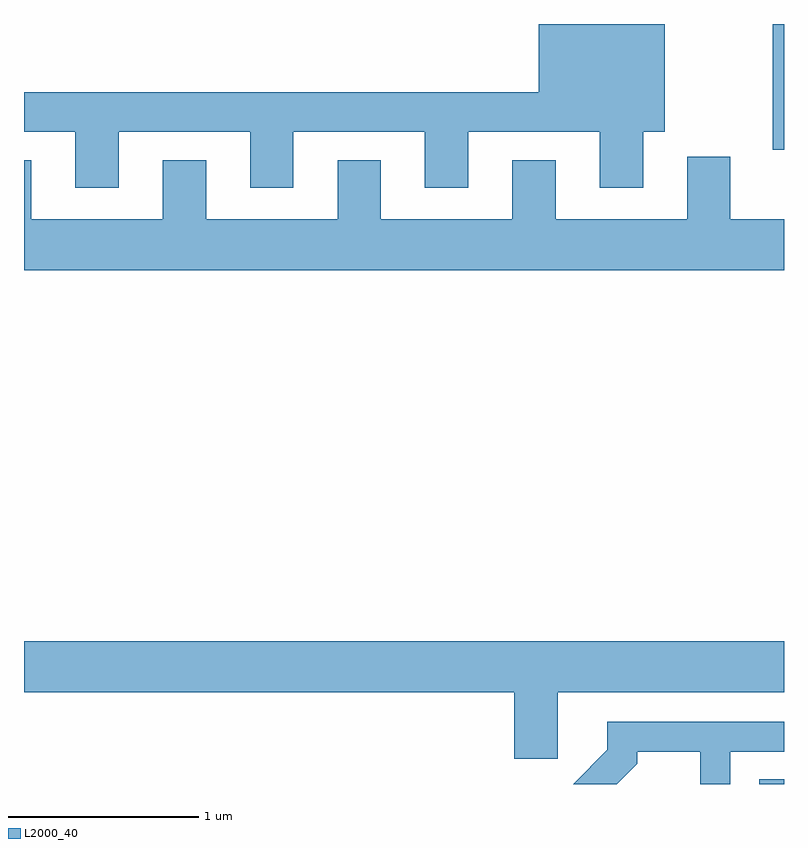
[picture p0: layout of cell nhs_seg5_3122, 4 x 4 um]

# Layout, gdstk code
import gdstk
lib = gdstk.Library(unit=1e-6, precision=1e-09)
def R(c, l, rs):  # rectangles x0, y0, x1, y1
    for r in rs: c.add(gdstk.rectangle(r[:2], r[2:], *l))
def P(c, l, *ps):  # polygons
    for p in ps: c.add(gdstk.Polygon(p, *l))
L2000_40 = (2000, 40)

nhs_seg5_3122 = lib.new_cell('nhs_seg5_3122')
R(nhs_seg5_3122, L2000_40, [(281.481,1474.072,281.611,1474.098), (281.551,1477.411,281.611,1478.072)])
P(nhs_seg5_3122, L2000_40, [(278.109,1477.506),(278.801,1477.506),(278.801,1477.211),(279.029,1477.211),(279.029,1477.506),(279.721,1477.506),(279.721,1477.211),(279.949,1477.211),(279.949,1477.506),(280.641,1477.506),(280.641,1477.211),(280.869,1477.211),(280.869,1477.506),(280.984,1477.506),(280.984,1478.072),(280.321,1478.072),(280.321,1477.714),(277.611,1477.714),(277.611,1477.506),(277.881,1477.506),(277.881,1477.211),(278.109,1477.211)],
  [(281.611,1477.044),(281.329,1477.044),(281.329,1477.374),(281.101,1477.374),(281.101,1477.044),(280.409,1477.044),(280.409,1477.354),(280.181,1477.354),(280.181,1477.044),(279.489,1477.044),(279.489,1477.354),(279.261,1477.354),(279.261,1477.044),(278.569,1477.044),(278.569,1477.354),(278.341,1477.354),(278.341,1477.044),(277.649,1477.044),(277.649,1477.354),(277.611,1477.354),(277.611,1476.776),(281.611,1476.776)],
  [(280.419,1474.556),(281.611,1474.556),(281.611,1474.824),(277.611,1474.824),(277.611,1474.556),(280.191,1474.556),(280.191,1474.206),(280.419,1474.206)],
  [(280.839,1474.179),(280.839,1474.241),(281.171,1474.241),(281.171,1474.072),(281.329,1474.072),(281.329,1474.241),(281.611,1474.241),(281.611,1474.399),(280.681,1474.399),(280.681,1474.252),(280.502,1474.072),(280.732,1474.072)])

lib.write_gds('nhs_seg5_3122.gds')
